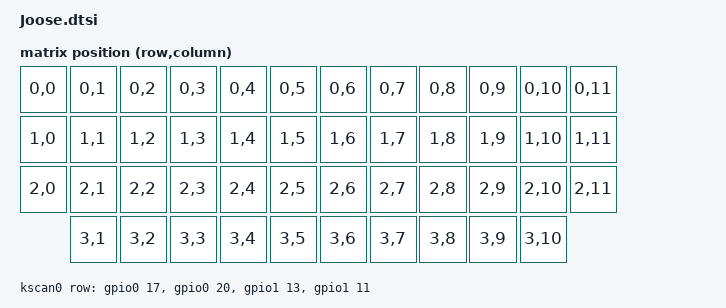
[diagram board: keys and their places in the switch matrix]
#include <dt-bindings/zmk/matrix_transform.h>

/ {
    chosen {
        zmk,physical-layout = &physical_layout0;
    };

    kscan0: kscan0 {
        compatible = "zmk,kscan-gpio-matrix";
        label = "default_kscan";
        diode-direction = "col2row";

        row-gpios
            = <&gpio0 17 (GPIO_ACTIVE_HIGH | GPIO_PULL_DOWN)>
            , <&gpio0 20 (GPIO_ACTIVE_HIGH | GPIO_PULL_DOWN)>
            , <&gpio1 13 (GPIO_ACTIVE_HIGH | GPIO_PULL_DOWN)>
            , <&gpio1 11 (GPIO_ACTIVE_HIGH | GPIO_PULL_DOWN)>
            ;
    };

    transform0: transform0 {
        compatible = "zmk,matrix-transform";
        rows = <4>;
        columns = <12>;

        map = <
            RC(0,0) RC(0,1) RC(0,2) RC(0,3) RC(0,4) RC(0,5) RC(0,6) RC(0,7) RC(0,8) RC(0,9) RC(0,10) RC(0,11)
            RC(1,0) RC(1,1) RC(1,2) RC(1,3) RC(1,4) RC(1,5) RC(1,6) RC(1,7) RC(1,8) RC(1,9) RC(1,10) RC(1,11)
            RC(2,0) RC(2,1) RC(2,2) RC(2,3) RC(2,4) RC(2,5) RC(2,6) RC(2,7) RC(2,8) RC(2,9) RC(2,10) RC(2,11)
                    RC(3,1) RC(3,2) RC(3,3) RC(3,4) RC(3,5) RC(3,6) RC(3,7) RC(3,8) RC(3,9) RC(3,10) 
        >;
    };

    physical_layout0: physical_layout0 {
        compatible = "zmk,physical-layout";
        display-name = "Joose Layout";
        transform = <&transform0>;
        kscan = <&kscan0>;
    };

    nice_view_spi {
        cs-gpios = <&gpio1 6 GPIO_ACTIVE_HIGH>;
    };
};
